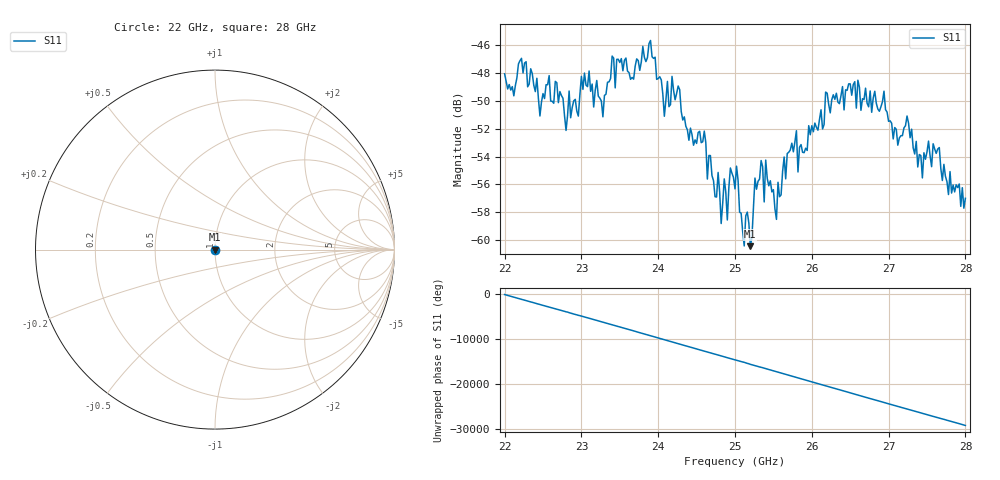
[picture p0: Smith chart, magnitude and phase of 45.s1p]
#  HZ  S  RI  R  50.00
! Rohde & Schwarz ZVA40 4Ports - Version 3.90 - 1145.1110k42 SN: 100403
! Date: 2023-10-04 07:35:15
! Measurement: S12
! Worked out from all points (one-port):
!   301 points, 22 GHz to 28 GHz, reference 50 ohm
!   lowest |S11| = -60.4 dB at 25.2 GHz (marker M1), VSWR 1.00, Z = 49.9 - j0.0334 ohm
!   |S11| at or under -10 dB: start of sweep to end of sweep
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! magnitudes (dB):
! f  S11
! 22 GHz  -48.0
! 22.76 GHz  -49.8
! 22.8 GHz  -52.1
! 22.84 GHz  -49.3
! 22.96 GHz  -51.1
! 23.1 GHz  -47.8
! 23.28 GHz  -51.1
! 23.5 GHz  -47.2
! 23.9 GHz  -45.6
! 24.08 GHz  -51.1
! 24.26 GHz  -48.9
! 24.78 GHz  -55.1
! 24.82 GHz  -58.8
! 24.86 GHz  -55.6
! 24.9 GHz  -58.6
! 24.94 GHz  -54.8
! 25 GHz  -56.3
! 25.2 GHz  -60.4
! 25.26 GHz  -55.5
! 25.34 GHz  -54.3
! 25.54 GHz  -58.5
! 25.64 GHz  -54.0
! 25.76 GHz  -53.7
! 26.5 GHz  -48.8
! 27.26 GHz  -51.6
! 27.44 GHz  -55.5
! 27.52 GHz  -52.9
! 28 GHz  -57.0
